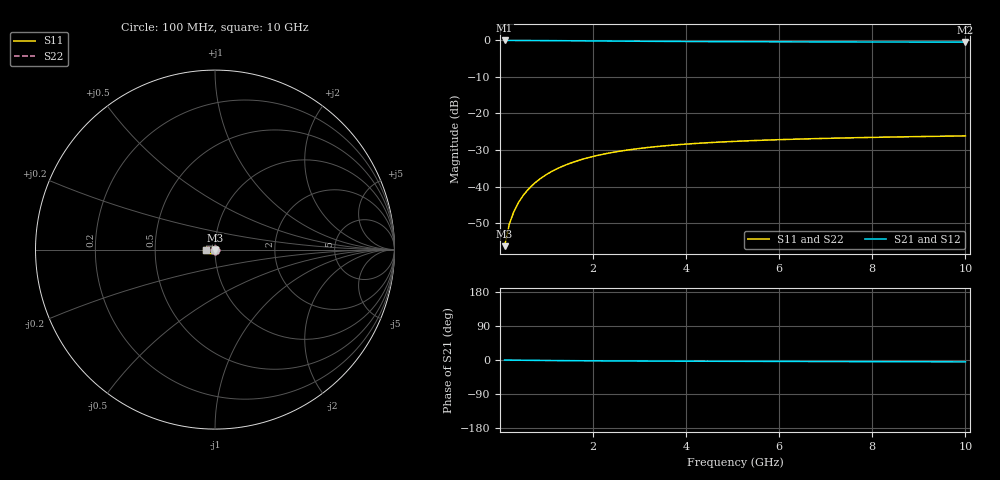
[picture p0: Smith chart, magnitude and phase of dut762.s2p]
! Touchstone file exported from HFSS 2024.1.0
!  File:  C:/UserFiles/LocalFiles/RDL_TSV_Batchsim/temp_TSV1_762_1779872635.aedt
!  Generated:  05:09:46 PM May 27, 2026
!  Design:  TSV1
!  Project:  temp_TSV1_762_1779872635
!  Setup:  Setup1
!  Solution:  Sweep
! Variables:
!  dtsv = 13.68um
!  hbump = 3um
!  htsv = 74.45um
!  lrdl = 252.1521522um
!  p = 40
!  p1 = 59.22um
!  t = 500um
!  trdl = 3um
!  wrdl = 24.89489489um
# GHz S MA R 50.000000
! Terminal data exported
! Port[1] = TSV22_T1
! Port[2] = TSV22_T2
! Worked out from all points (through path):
!   100 points, 100 MHz to 10 GHz, reference 50 ohm
!   highest |S21| = 0.00 dB at 100 MHz (marker M1); lowest = -0.5 dB at 10 GHz (marker M2)
!   lowest |S11| = -56.3 dB at 100 MHz (marker M3), VSWR 1.00, Z = 50 - j0.153 ohm
!   |S11| at or under -10 dB: start of sweep to end of sweep
!   |S22| runs from -56.3 to -26.1 dB; largest |S21 - S12| = 2e-15
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0.1  0.001526 -89.0  0.9999 -0.1  0.9999 -0.1  0.001526 -89.0
! Gamma 0 0 0 0
! Port Impedance 50 0 50 0
0.2  0.003048 -92.4  0.9997 -0.3  0.9997 -0.3  0.003048 -92.4
0.3  0.004567 -94.8  0.9994 -0.4  0.9994 -0.4  0.004567 -94.8
0.4  0.006076 -97.0  0.999 -0.5  0.999 -0.5  0.006076 -97.0
0.5  0.007569 -99.2  0.9985 -0.7  0.9985 -0.7  0.007569 -99.2
0.6  0.009039 -101.2  0.998 -0.8  0.998 -0.8  0.009039 -101.2
0.7  0.01048 -103.3  0.9973 -0.9  0.9973 -0.9  0.01048 -103.3
0.8  0.01189 -105.3  0.9966 -1.1  0.9966 -1.1  0.01189 -105.3
0.9  0.01327 -107.2  0.9958 -1.2  0.9958 -1.2  0.01327 -107.2
1.1  0.01592 -111.0  0.9941 -1.4  0.9941 -1.4  0.01592 -111.0
1.4  0.01959 -116.3  0.9911 -1.7  0.9911 -1.7  0.01959 -116.3
1.6  0.02183 -119.6  0.9891 -1.9  0.9891 -1.9  0.02183 -119.6
1.8  0.02389 -122.8  0.987 -2.0  0.987 -2.0  0.02389 -122.8
2.1  0.0267 -127.2  0.9838 -2.3  0.9838 -2.3  0.0267 -127.2
2.5  0.02992 -132.5  0.9798 -2.5  0.9798 -2.5  0.02992 -132.5
2.9  0.03262 -137.3  0.976 -2.7  0.976 -2.7  0.03262 -137.3
3.4  0.03541 -142.6  0.9719 -2.9  0.9719 -2.9  0.03541 -142.6
4.2  0.03885 -149.7  0.9664 -3.2  0.9664 -3.2  0.03885 -149.7
5.1  0.04169 -156.3  0.9617 -3.5  0.9617 -3.5  0.04169 -156.3
6.7  0.04513 -165.6  0.9558 -4.0  0.9558 -4.0  0.04513 -165.6
8.4  0.04759 -173.3  0.9519 -4.5  0.9519 -4.5  0.04759 -173.3
10  0.04934 -179.4  0.9493 -4.9  0.9493 -4.9  0.04934 -179.4
